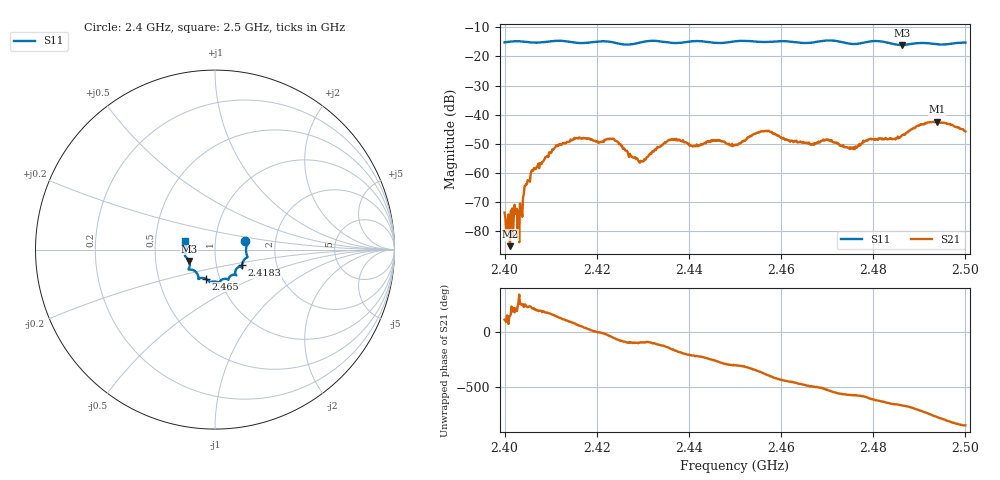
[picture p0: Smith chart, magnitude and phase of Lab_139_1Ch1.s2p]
# Hz S RI R 50
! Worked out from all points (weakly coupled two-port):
!   601 points, 2.4 GHz to 2.5 GHz, reference 50 ohm
!   highest |S21| = -42.40 dB at 2.4938 GHz (marker M1); lowest = -85.2 dB at 2.4012 GHz (marker M2)
!   lowest |S11| = -16.0 dB at 2.4862 GHz (marker M3), VSWR 1.37, Z = 37.1 - j4.82 ohm
!   |S11| at or under -10 dB: start of sweep to end of sweep
!   S12 and S22 are empty: the file has one direction only
!   S11 on the Smith chart (normalised r, x): 2.4 GHz: 1.40, +0.13; 2.4183 GHz: 1.33, -0.24; 2.465 GHz: 0.86, -0.29; 2.5 GHz: 0.71, +0.07
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2.4e9  0.1689 0.0458  -7.77e-05 0.000193  0 0  0 0
2.400667e9  0.1728 0.0416  -8.99e-05 6.07e-05  0 0  0 0
2.401167e9  0.1754 0.0394  -4.79e-05 2.73e-05  0 0  0 0
2.403333e9  0.1797 0.031  -6.94e-05 -0.000292  0 0  0 0
2.4045e9  0.1776 0.0232  -0.0002 -0.000568  0 0  0 0
2.406167e9  0.1732 0.00665  -0.000922 -0.000585  0 0  0 0
2.4115e9  0.1816 -0.0406  -0.00213 0.00194  0 0  0 0
2.416667e9  0.1554 -0.0685  0.00236 0.00306  0 0  0 0
2.418333e9  0.1501 -0.0873  0.00355 0.00164  0 0  0 0
2.423667e9  0.1444 -0.0967  0.00233 -0.00305  0 0  0 0
2.4295e9  0.1131 -0.133  -5.19e-05 -0.00161  0 0  0 0
2.433333e9  0.1171 -0.1415  -0.00104 -0.00254  0 0  0 0
2.4365e9  0.0946 -0.1422  -0.00336 -0.00149  0 0  0 0
2.45e9  0.0253 -0.1807  0.00155 0.00263  0 0  0 0
2.456833e9  -0.00847 -0.1773  0.00478 -0.00232  0 0  0 0
2.465e9  -0.0528 -0.1621  -0.00151 -0.00294  0 0  0 0
2.466667e9  -0.0714 -0.1577  -0.00205 -0.00233  0 0  0 0
2.4755e9  -0.1058 -0.1252  -0.00236 0.00137  0 0  0 0
2.483333e9  -0.1421 -0.0958  0.000853 0.00375  0 0  0 0
2.486167e9  -0.1445 -0.0634  0.00235 0.00369  0 0  0 0
2.493833e9  -0.1623 -0.0101  0.00503 -0.00569  0 0  0 0
2.5e9  -0.1668 0.0472  -0.00299 -0.00422  0 0  0 0
